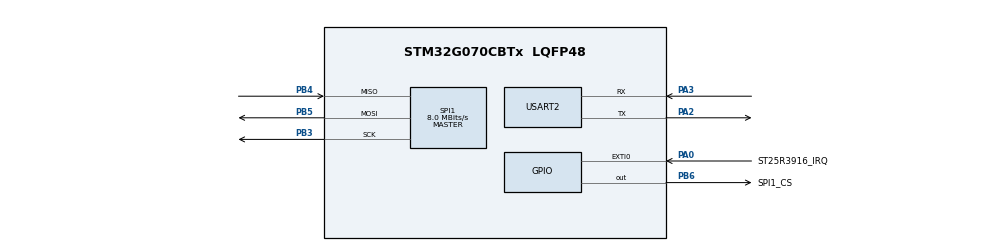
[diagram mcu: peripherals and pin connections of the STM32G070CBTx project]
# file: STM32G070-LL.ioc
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Mcu.Family=STM32G0
Mcu.Name=STM32G070CBTx
Mcu.Package=LQFP48
NVIC.EXTI0_1_IRQn=true\:0\:0\:false\:false\:true\:true\:true\:true
NVIC.USART2_IRQn=true\:0\:0\:false\:false\:true\:true\:true\:true
PA0.GPIO_Label=ST25R3916_IRQ
PA0.Signal=GPXTI0
PA13.GPIO_Label=TMS
PA13.Mode=Serial_Wire
PA13.Signal=SYS_SWDIO
PA14-BOOT0.GPIO_Label=TCK
PA14-BOOT0.Mode=Serial_Wire
PA14-BOOT0.Signal=SYS_SWCLK
PA2.GPIO_Speed=GPIO_SPEED_FREQ_HIGH
PA2.Mode=Asynchronous
PA2.PinState=GPIO_PIN_SET
PA2.Signal=USART2_TX
PA3.GPIO_Speed=GPIO_SPEED_FREQ_HIGH
PA3.Mode=Asynchronous
PA3.PinState=GPIO_PIN_SET
PA3.Signal=USART2_RX
PB3.GPIO_PuPd=GPIO_NOPULL
PB3.GPIO_Speed=GPIO_SPEED_FREQ_LOW
PB3.Mode=Full_Duplex_Master
PB3.Signal=SPI1_SCK
PB4.GPIO_PuPd=GPIO_NOPULL
PB4.Mode=Full_Duplex_Master
PB4.Signal=SPI1_MISO
PB5.GPIO_PuPd=GPIO_NOPULL
PB5.GPIO_Speed=GPIO_SPEED_FREQ_LOW
PB5.Mode=Full_Duplex_Master
PB5.Signal=SPI1_MOSI
PB6.GPIO_Label=SPI1_CS
PB6.GPIO_PuPd=GPIO_PULLUP
PB6.PinState=GPIO_PIN_SET
PB6.Signal=GPIO_Output
PC13.Mode=SYS_WakeUp1
PC13.Signal=SYS_WKUP2
PC14-OSC32_IN\ (PC14).Mode=LSE-External-Oscillator
PC14-OSC32_IN\ (PC14).Signal=RCC_OSC32_IN
PC15-OSC32_OUT\ (PC15).Mode=LSE-External-Oscillator
PC15-OSC32_OUT\ (PC15).Signal=RCC_OSC32_OUT
PF0-OSC_IN\ (PF0).Mode=HSE-External-Oscillator
PF0-OSC_IN\ (PF0).Signal=RCC_OSC_IN
PF1-OSC_OUT\ (PF1).Mode=HSE-External-Oscillator
PF1-OSC_OUT\ (PF1).Signal=RCC_OSC_OUT
ProjectManager.HeapSize=0x200
ProjectManager.StackSize=0x400
ProjectManager.TargetToolchain=EWARM V8.50
RCC.ADCFreq_Value=64000000
RCC.AHBCLKDivider=RCC_SYSCLK_DIV4
RCC.AHBFreq_Value=16000000
RCC.CortexFreq_Value=16000000
RCC.EXTERNAL_CLOCK_VALUE=48000
RCC.HCLKFreq_Value=16000000
RCC.HSE_VALUE=16000000
RCC.HSI_VALUE=16000000
RCC.SYSCLKFreq_VALUE=64000000
RCC.SYSCLKSource=RCC_SYSCLKSOURCE_PLLCLK
RCC.VCOOutputFreq_Value=128000000
SPI1.BaudRatePrescaler=SPI_BAUDRATEPRESCALER_2
SPI1.CLKPhase=SPI_PHASE_2EDGE
SPI1.CalculateBaudRate=8.0 MBits/s
SPI1.DataSize=SPI_DATASIZE_8BIT
SPI1.Direction=SPI_DIRECTION_2LINES
SPI1.Mode=SPI_MODE_MASTER
SPI1.VirtualType=VM_MASTER
USART2.VirtualMode-Asynchronous=VM_ASYNC
VP_SYS_VS_DBSignals.Mode=DisableDeadBatterySignals
board=custom

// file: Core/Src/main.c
/* USER CODE BEGIN Header */
/**
  ******************************************************************************
  * @file           : main.c
  * @brief          : Main program body
  ******************************************************************************
  * @attention
  *
  * Copyright (c) 2024 STMicroelectronics.
  * All rights reserved.
  *
  * This software is licensed under terms that can be found in the LICENSE file
  * in the root directory of this software component.
  * If no LICENSE file comes with this software, it is provided AS-IS.
  *
  ******************************************************************************
  */
/* USER CODE END Header */
#include "main.h"
#include "spi.h"
#include "usart.h"
#include "gpio.h"

/* USER CODE BEGIN Includes */
#include "stm32g0xx_ll_bus.h"
#include "stm32g0xx_ll_rcc.h"
#include "stm32g0xx_ll_system.h"
#include "stm32g0xx_ll_utils.h"
#include <stddef.h>
#include <stdio.h>
#include <stdlib.h>
#include <string.h>
#include <stdbool.h>
#include "demo.h"
/* USER CODE END Includes */

/* USER CODE BEGIN PV */
uint8_t globalCommProtectCnt = 0; /*!< Global Protection counter */

/* USER CODE END PV */

void SystemClock_Config(void);
/* USER CODE BEGIN PFP */

extern bool demoIni( void );
/* USER CODE END PFP */

/* USER CODE BEGIN 0 */
__IO uint8_t ubSend = 0;
uint8_t aStringToSend[] = "STM32G0xx USART LL API Example : TX in IT mode\r\nConfiguration UART 115200 bps, 8 data bit/1 stop bit/No parity/No HW flow control\r\n";
uint8_t ubSizeToSend = sizeof(aStringToSend);

void USART_TXEmpty_Callback(void)
{
  if (ubSend == (ubSizeToSend - 1))
  {
    /* Disable TXE interrupt */
    LL_USART_DisableIT_TXE(USART2);

    /* Enable TC interrupt */
    LL_USART_EnableIT_TC(USART2);
  }

  /* Fill TDR with a new char */
  LL_USART_TransmitData8(USART2, aStringToSend[ubSend++]);
}

void USART_SendStringData(unsigned char * datasource, unsigned char sendsize)
{
  unsigned char i;
  for(i =0 ;i < sendsize; i++)
  {
    aStringToSend[i] = (datasource[i]);
  }
  ubSizeToSend = sendsize;
  ubSend = 0;

  /* Start USART transmission : Will initiate TXE interrupt after TDR register is empty */
  LL_USART_TransmitData8(USART2, aStringToSend[ubSend++]);

  /* Enable TXE interrupt */
  LL_USART_EnableIT_TXE(USART2);

}
void USART_CharTransmitComplete_Callback(void)
{
  if (ubSend == sizeof(aStringToSend))
  {
    ubSend = 0;

    /* Disable TC interrupt */
    LL_USART_DisableIT_TC(USART2);

    /* Turn LED4 On at end of transfer : Tx sequence completed successfully */
  //  LED_On();
  }
}
void USART_CharReception_Callback(void)
{
  uint8_t received_char;

  /* Read Received character. RXNE flag is cleared by reading of RDR register */
  received_char = LL_USART_ReceiveData8(USART2);

  //UART_ReceiveData_ApplicationProcess(received_char);

  /* Echo received character on TX */
  LL_USART_TransmitData8(USART2, received_char);

}
void Error_Callback(void)
{
  __IO uint32_t isr_reg;

  /* Disable USARTx_IRQn */
  NVIC_DisableIRQ(USART2_IRQn);

  /* Error handling example :
    - Read USART ISR register to identify flag that leads to IT raising
    - Perform corresponding error handling treatment according to flag
  */
  isr_reg = LL_USART_ReadReg(USART2, ISR);
  if (isr_reg & LL_USART_ISR_NE)
  {
    /* case Noise Error flag is raised : ... */
   ;// LED_Blinking(LED_BLINK_FAST);
  }
  else
  {
    /* Unexpected IT source : Set LED to Blinking mode to indicate error occurs */
  ;//  LED_Blinking(LED_BLINK_ERROR);
  }
}
extern uint32_t LL_Tick;
uint32_t LL_GetTick(void) {
    return LL_Tick;
}
/* USER CODE END 0 */

int main(void)
{

  /* MCU Configuration--------------------------------------------------------*/

  /* Reset of all peripherals, Initializes the Flash interface and the Systick. */
  LL_APB2_GRP1_EnableClock(LL_APB2_GRP1_PERIPH_SYSCFG);
  LL_APB1_GRP1_EnableClock(LL_APB1_GRP1_PERIPH_PWR);

  /* SysTick_IRQn interrupt configuration */
  NVIC_SetPriority(SysTick_IRQn, 3);

  /** Disable the internal Pull-Up in Dead Battery pins of UCPD peripheral
  */
  LL_SYSCFG_DisableDBATT(LL_SYSCFG_UCPD1_STROBE | LL_SYSCFG_UCPD2_STROBE);

  /* Configure the system clock */
  SystemClock_Config();

  /* USER CODE BEGIN SysInit */
  SysTick->CTRL |= SysTick_CTRL_TICKINT_Msk;
  /* USER CODE END SysInit */

  /* Initialize all configured peripherals */
  MX_GPIO_Init();
  MX_SPI1_Init();
  MX_USART2_UART_Init();
  /* USER CODE BEGIN 2 */

//  USART_SendStringData(aStringToSend, ubSizeToSend);
  demoIni();
  /* USER CODE END 2 */

  /* Infinite loop */
  /* USER CODE BEGIN WHILE */
  while (1)
  {
    demoCycle(1);
    /* USER CODE END WHILE */

  }
}

void SystemClock_Config(void)
{
  /* HSI configuration and activation */
  LL_RCC_HSI_Enable();
  while(LL_RCC_HSI_IsReady() != 1)
  {
  }

  /* Main PLL configuration and activation */
  LL_RCC_PLL_ConfigDomain_SYS(LL_RCC_PLLSOURCE_HSI, LL_RCC_PLLM_DIV_1, 8, LL_RCC_PLLR_DIV_2);
  LL_RCC_PLL_Enable();
  LL_RCC_PLL_EnableDomain_SYS();
  while(LL_RCC_PLL_IsReady() != 1)
  {
  }

  /* Set AHB prescaler*/
  LL_RCC_SetAHBPrescaler(LL_RCC_SYSCLK_DIV_4);

  /* Sysclk activation on the main PLL */
  LL_RCC_SetSysClkSource(LL_RCC_SYS_CLKSOURCE_PLL);
  while(LL_RCC_GetSysClkSource() != LL_RCC_SYS_CLKSOURCE_STATUS_PLL)
  {
  }

  /* Set APB1 prescaler*/
  LL_RCC_SetAPB1Prescaler(LL_RCC_APB1_DIV_1);
  LL_Init1msTick(16000000);
  /* Update CMSIS variable (which can be updated also through SystemCoreClockUpdate function) */
  LL_SetSystemCoreClock(16000000);
}

/* USER CODE BEGIN 4 */
int32_t BSP_SPI1_SendRecv_LL(const uint8_t *const pTxData, uint8_t *const pRxData, uint16_t Length)
{
  uint16_t i = 0;
  if ((pTxData == NULL && pRxData == NULL) || (Length == 0)) {
    return -1;  // 参数检查
  }

  for (i = 0; i < Length; i++) {
    while (!LL_SPI_IsActiveFlag_TXE(SPI1));  // 等待，直到发送缓冲区为空
    LL_SPI_TransmitData8(SPI1, pTxData[i]);  // 发送数据

    while (!LL_SPI_IsActiveFlag_RXNE(SPI1));  // 等待，直到接收缓冲区非空
    pRxData[i] = LL_SPI_ReceiveData8(SPI1);   // 接收数据

    while (LL_SPI_IsActiveFlag_BSY(SPI1));  // 确保SPI不忙，完成当前传输
  }

  return 0;  // 成功执行
}

/* USER CODE END 4 */

void Error_Handler(void)
{
  __disable_irq();
  while (1)
  {
  }
}
